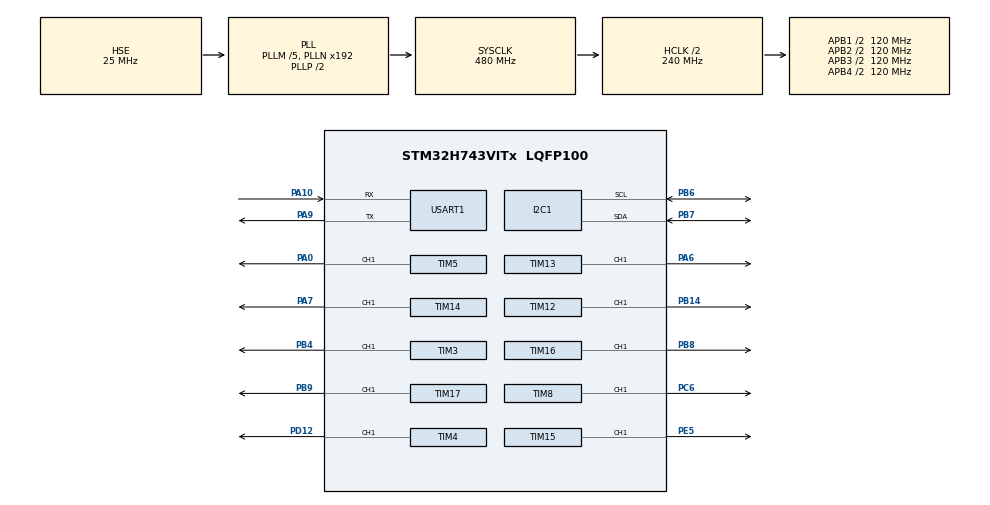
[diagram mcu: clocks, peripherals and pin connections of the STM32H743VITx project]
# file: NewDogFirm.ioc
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CORTEX_M7.Enable_S-Cortex_Memory_Protection_Unit_Region2_Settings_S=__NULL
CORTEX_M7.default_mode_Activation=1
Dma.Request0=USART1_RX
Dma.Request1=USART1_TX
Dma.USART1_RX.0.Direction=DMA_PERIPH_TO_MEMORY
Dma.USART1_RX.0.EventEnable=DISABLE
Dma.USART1_RX.0.FIFOMode=DMA_FIFOMODE_DISABLE
Dma.USART1_RX.0.Instance=DMA1_Stream0
Dma.USART1_RX.0.MemDataAlignment=DMA_MDATAALIGN_BYTE
Dma.USART1_RX.0.MemInc=DMA_MINC_ENABLE
Dma.USART1_RX.0.Mode=DMA_NORMAL
Dma.USART1_RX.0.PeriphDataAlignment=DMA_PDATAALIGN_BYTE
Dma.USART1_RX.0.PeriphInc=DMA_PINC_DISABLE
Dma.USART1_RX.0.Polarity=HAL_DMAMUX_REQ_GEN_RISING
Dma.USART1_RX.0.Priority=DMA_PRIORITY_MEDIUM
Dma.USART1_RX.0.RequestNumber=1
Dma.USART1_RX.0.SignalID=NONE
Dma.USART1_RX.0.SyncEnable=DISABLE
Dma.USART1_RX.0.SyncPolarity=HAL_DMAMUX_SYNC_NO_EVENT
Dma.USART1_RX.0.SyncRequestNumber=1
Dma.USART1_RX.0.SyncSignalID=NONE
Dma.USART1_TX.1.Direction=DMA_MEMORY_TO_PERIPH
Dma.USART1_TX.1.EventEnable=DISABLE
Dma.USART1_TX.1.FIFOMode=DMA_FIFOMODE_DISABLE
Dma.USART1_TX.1.Instance=DMA1_Stream1
Dma.USART1_TX.1.MemDataAlignment=DMA_MDATAALIGN_BYTE
Dma.USART1_TX.1.MemInc=DMA_MINC_ENABLE
Dma.USART1_TX.1.Mode=DMA_NORMAL
Dma.USART1_TX.1.PeriphDataAlignment=DMA_PDATAALIGN_BYTE
Dma.USART1_TX.1.PeriphInc=DMA_PINC_DISABLE
Dma.USART1_TX.1.Polarity=HAL_DMAMUX_REQ_GEN_RISING
Dma.USART1_TX.1.Priority=DMA_PRIORITY_MEDIUM
Dma.USART1_TX.1.RequestNumber=1
Dma.USART1_TX.1.SignalID=NONE
Dma.USART1_TX.1.SyncEnable=DISABLE
Dma.USART1_TX.1.SyncPolarity=HAL_DMAMUX_SYNC_NO_EVENT
Dma.USART1_TX.1.SyncRequestNumber=1
Dma.USART1_TX.1.SyncSignalID=NONE
FREERTOS.Tasks01=defaultTask,24,128,StartDefaultTask,Default,NULL,Dynamic,NULL,NULL;AttitudeTask,48,1024,StartAttitudeTask,Default,NULL,Dynamic,NULL,NULL;ServoControlTas,49,512,StartServoControlTask,Default,NULL,Dynamic,NULL,NULL;GaitControlTask,49,512,StartGaitControlTask,Default,NULL,Dynamic,NULL,NULL;SerialCommTask,49,1024,StartSerialCommTask,Default,NULL,Dynamic,NULL,NULL
FREERTOS.configUSE_NEWLIB_REENTRANT=1
I2C1.Timing=0x307075B1
Mcu.Family=STM32H7
Mcu.Name=STM32H743VITx
Mcu.Package=LQFP100
NVIC.DMA1_Stream0_IRQn=true\:5\:0\:false\:false\:true\:true\:false\:true\:true
NVIC.DMA1_Stream1_IRQn=true\:5\:0\:false\:false\:true\:true\:false\:true\:true
NVIC.PriorityGroup=NVIC_PRIORITYGROUP_4
NVIC.TIM1_UP_IRQn=true\:15\:0\:false\:false\:true\:false\:false\:true\:true
NVIC.TimeBase=TIM1_UP_IRQn
NVIC.TimeBaseIP=TIM1
NVIC.USART1_IRQn=true\:5\:0\:false\:false\:true\:true\:true\:true\:true
PA0.Signal=S_TIM5_CH1
PA10.Mode=Asynchronous
PA10.Signal=USART1_RX
PA6.Signal=S_TIM13_CH1
PA7.Signal=S_TIM14_CH1
PA9.Mode=Asynchronous
PA9.Signal=USART1_TX
PB14.Signal=S_TIM12_CH1
PB4\ (NJTRST).Signal=S_TIM3_CH1
PB6.Mode=I2C
PB6.Signal=I2C1_SCL
PB7.Mode=I2C
PB7.Signal=I2C1_SDA
PB8.Signal=S_TIM16_CH1
PB9.Signal=S_TIM17_CH1
PC14-OSC32_IN\ (OSC32_IN).Mode=LSE-External-Oscillator
PC14-OSC32_IN\ (OSC32_IN).Signal=RCC_OSC32_IN
PC15-OSC32_OUT\ (OSC32_OUT).Mode=LSE-External-Oscillator
PC15-OSC32_OUT\ (OSC32_OUT).Signal=RCC_OSC32_OUT
PC6.Signal=S_TIM8_CH1
PD12.Signal=S_TIM4_CH1
PE5.Signal=S_TIM15_CH1
PH0-OSC_IN\ (PH0).Mode=HSE-External-Oscillator
PH0-OSC_IN\ (PH0).Signal=RCC_OSC_IN
PH1-OSC_OUT\ (PH1).Mode=HSE-External-Oscillator
PH1-OSC_OUT\ (PH1).Signal=RCC_OSC_OUT
ProjectManager.HeapSize=0x200
ProjectManager.StackSize=0x400
ProjectManager.TargetToolchain=STM32CubeIDE
RCC.ADCFreq_Value=50390625
RCC.APB1Freq_Value=120000000
RCC.APB2Freq_Value=120000000
RCC.APB3Freq_Value=120000000
RCC.APB4Freq_Value=120000000
RCC.CortexFreq_Value=480000000
RCC.D1PPRE=RCC_APB3_DIV2
RCC.D2PPRE1=RCC_APB1_DIV2
RCC.D2PPRE2=RCC_APB2_DIV2
RCC.D3PPRE=RCC_APB4_DIV2
RCC.DIVM1=5
RCC.DIVN1=192
RCC.HCLKFreq_Value=240000000
RCC.HPRE=RCC_HCLK_DIV2
RCC.PLLFRACN=0
RCC.PLLSourceVirtual=RCC_PLLSOURCE_HSE
RCC.SYSCLKFreq_VALUE=480000000
RCC.SYSCLKSource=RCC_SYSCLKSOURCE_PLLCLK
RCC.USBFreq_Value=480000000
SH.S_TIM12_CH1.0=TIM12_CH1,PWM Generation1 CH1
SH.S_TIM13_CH1.0=TIM13_CH1,PWM Generation1 CH1
SH.S_TIM14_CH1.0=TIM14_CH1,PWM Generation1 CH1
SH.S_TIM15_CH1.0=TIM15_CH1,PWM Generation1 CH1
SH.S_TIM16_CH1.0=TIM16_CH1,PWM Generation1 CH1
SH.S_TIM17_CH1.0=TIM17_CH1,PWM Generation1 CH1
SH.S_TIM3_CH1.0=TIM3_CH1,PWM Generation1 CH1
SH.S_TIM4_CH1.0=TIM4_CH1,PWM Generation1 CH1
SH.S_TIM5_CH1.0=TIM5_CH1,PWM Generation1 CH1
SH.S_TIM8_CH1.0=TIM8_CH1,PWM Generation1 CH1
TIM12.Channel-PWM\ Generation1\ CH1=TIM_CHANNEL_1
TIM12.Period=20000-1
TIM12.Prescaler=240-1
TIM12.Pulse-PWM\ Generation1\ CH1=10000-1
TIM13.Channel=TIM_CHANNEL_1
TIM13.Period=20000-1
TIM13.Prescaler=240-1
TIM13.Pulse=10000-1
TIM14.Channel=TIM_CHANNEL_1
TIM14.Period=20000-1
TIM14.Prescaler=240-1
TIM14.Pulse=10000-1
TIM15.Channel-PWM\ Generation1\ CH1=TIM_CHANNEL_1
TIM15.Period=20000-1
TIM15.Prescaler=240-1
TIM15.Pulse-PWM\ Generation1\ CH1=10000-1
TIM16.Channel=TIM_CHANNEL_1
TIM16.Period=20000-1
TIM16.Prescaler=240-1
TIM16.Pulse=10000-1
TIM17.Channel=TIM_CHANNEL_1
TIM17.Period=20000-1
TIM17.Prescaler=240-1
TIM17.Pulse=10000-1
TIM3.Channel-PWM\ Generation1\ CH1=TIM_CHANNEL_1
TIM3.Period=20000-1
TIM3.Prescaler=240-1
TIM3.Pulse-PWM\ Generation1\ CH1=10000-1
TIM4.Channel-PWM\ Generation1\ CH1=TIM_CHANNEL_1
TIM4.Period=20000-1
TIM4.Prescaler=240-1
TIM5.Channel-PWM\ Generation1\ CH1=TIM_CHANNEL_1
TIM5.Period=20000-1
TIM5.Prescaler=240-1
TIM5.Pulse-PWM\ Generation1\ CH1=10000-1
TIM8.Channel-PWM\ Generation1\ CH1=TIM_CHANNEL_1
TIM8.Period=20000-1
TIM8.Prescaler=240-1
TIM8.Pulse-PWM\ Generation1\ CH1=10000-1
USART1.VirtualMode-Asynchronous=VM_ASYNC
VP_FREERTOS_VS_CMSIS_V2.Mode=CMSIS_V2
VP_MEMORYMAP_VS_MEMORYMAP.Mode=CurAppReg
VP_SYS_VS_tim1.Mode=TIM1
VP_TIM12_VS_ClockSourceINT.Mode=Internal
VP_TIM13_VS_ClockSourceINT.Mode=Enable_Timer
VP_TIM14_VS_ClockSourceINT.Mode=Enable_Timer
VP_TIM15_VS_ClockSourceINT.Mode=Internal
VP_TIM16_VS_ClockSourceINT.Mode=Enable_Timer
VP_TIM17_VS_ClockSourceINT.Mode=Enable_Timer
VP_TIM3_VS_ClockSourceINT.Mode=Internal
VP_TIM4_VS_ClockSourceINT.Mode=Internal
VP_TIM5_VS_ClockSourceINT.Mode=Internal
VP_TIM8_VS_ClockSourceINT.Mode=Internal
board=custom

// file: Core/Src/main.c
/* USER CODE BEGIN Header */
/**
  ******************************************************************************
  * @file           : main.c
  * @brief          : Main program body
  ******************************************************************************
  * @attention
  *
  * Copyright (c) 2024 STMicroelectronics.
  * All rights reserved.
  *
  * This software is licensed under terms that can be found in the LICENSE file
  * in the root directory of this software component.
  * If no LICENSE file comes with this software, it is provided AS-IS.
  *
  ******************************************************************************
  */
/* USER CODE END Header */
#include "main.h"
#include "cmsis_os.h"
#include "dma.h"
#include "i2c.h"
#include "memorymap.h"
#include "tim.h"
#include "usart.h"
#include "gpio.h"

/* USER CODE BEGIN Includes */
#include "MPU9250.h"
#include "servo_control.h"
#include "string.h"
#include "stdio.h"
#include <stdint.h>
#include <math.h>
#include <stdbool.h>
/* USER CODE END Includes */

/* USER CODE BEGIN PV */

  //char buffer[128];

/* USER CODE END PV */

void SystemClock_Config(void);
static void MPU_Config(void);
void MX_FREERTOS_Init(void);

/* USER CODE BEGIN 0 */

void scan_I2C_bus(void) {
    HAL_UART_Transmit(&huart1, (uint8_t*)"Scanning I2C bus...\r\n", 22, 1000);
    for (uint8_t address = 0x03; address < 0xD0; address++) {
        // 发�?�一个空数据包，来探测该地址是否有设备响�????????
        if (HAL_I2C_IsDeviceReady(&hi2c1, address << 1, 1, 10) == HAL_OK) {
            char tbuffer[256];  // 临时缓冲�????????
            int len = snprintf(tbuffer, sizeof(tbuffer), "Device found at address 0x%02X\r\n", address);
            HAL_UART_Transmit(&huart1, (uint8_t*)tbuffer, len, 1500);
            //HAL_Delay(100);
        }
    }

    HAL_UART_Transmit(&huart1, (uint8_t*)"Scan complete.\r\n", 16, 1000);
}

/* USER CODE END 0 */

int main(void)
{

  /* MPU Configuration--------------------------------------------------------*/
  MPU_Config();

  /* MCU Configuration--------------------------------------------------------*/

  /* Reset of all peripherals, Initializes the Flash interface and the Systick. */
  HAL_Init();

  /* Configure the system clock */
  SystemClock_Config();

  /* Initialize all configured peripherals */
  MX_GPIO_Init();
  MX_DMA_Init();
  MX_TIM5_Init();
  MX_TIM8_Init();
  MX_TIM12_Init();
  MX_TIM13_Init();
  MX_TIM14_Init();
  MX_TIM15_Init();
  MX_TIM16_Init();
  MX_TIM17_Init();
  MX_I2C1_Init();
  MX_TIM4_Init();
  MX_TIM3_Init();
  MX_USART1_UART_Init();

  /* Init scheduler */
  osKernelInitialize();

  /* Call init function for freertos objects (in cmsis_os2.c) */
  MX_FREERTOS_Init();

  /* Start scheduler */
  osKernelStart();

  /* We should never get here as control is now taken by the scheduler */

  /* Infinite loop */
  while (1)
  {

  }
}

void SystemClock_Config(void)
{
  RCC_OscInitTypeDef RCC_OscInitStruct = {0};
  RCC_ClkInitTypeDef RCC_ClkInitStruct = {0};

  /** Supply configuration update enable
  */
  HAL_PWREx_ConfigSupply(PWR_LDO_SUPPLY);

  /** Configure the main internal regulator output voltage
  */
  __HAL_PWR_VOLTAGESCALING_CONFIG(PWR_REGULATOR_VOLTAGE_SCALE1);

  while(!__HAL_PWR_GET_FLAG(PWR_FLAG_VOSRDY)) {}

  __HAL_RCC_SYSCFG_CLK_ENABLE();
  __HAL_PWR_VOLTAGESCALING_CONFIG(PWR_REGULATOR_VOLTAGE_SCALE0);

  while(!__HAL_PWR_GET_FLAG(PWR_FLAG_VOSRDY)) {}

  /** Initializes the RCC Oscillators according to the specified parameters
  * in the RCC_OscInitTypeDef structure.
  */
  RCC_OscInitStruct.OscillatorType = RCC_OSCILLATORTYPE_HSE;
  RCC_OscInitStruct.HSEState = RCC_HSE_ON;
  RCC_OscInitStruct.PLL.PLLState = RCC_PLL_ON;
  RCC_OscInitStruct.PLL.PLLSource = RCC_PLLSOURCE_HSE;
  RCC_OscInitStruct.PLL.PLLM = 5;
  RCC_OscInitStruct.PLL.PLLN = 192;
  RCC_OscInitStruct.PLL.PLLP = 2;
  RCC_OscInitStruct.PLL.PLLQ = 2;
  RCC_OscInitStruct.PLL.PLLR = 2;
  RCC_OscInitStruct.PLL.PLLRGE = RCC_PLL1VCIRANGE_2;
  RCC_OscInitStruct.PLL.PLLVCOSEL = RCC_PLL1VCOWIDE;
  RCC_OscInitStruct.PLL.PLLFRACN = 0;
  if (HAL_RCC_OscConfig(&RCC_OscInitStruct) != HAL_OK)
  {
    Error_Handler();
  }

  /** Initializes the CPU, AHB and APB buses clocks
  */
  RCC_ClkInitStruct.ClockType = RCC_CLOCKTYPE_HCLK|RCC_CLOCKTYPE_SYSCLK
                              |RCC_CLOCKTYPE_PCLK1|RCC_CLOCKTYPE_PCLK2
                              |RCC_CLOCKTYPE_D3PCLK1|RCC_CLOCKTYPE_D1PCLK1;
  RCC_ClkInitStruct.SYSCLKSource = RCC_SYSCLKSOURCE_PLLCLK;
  RCC_ClkInitStruct.SYSCLKDivider = RCC_SYSCLK_DIV1;
  RCC_ClkInitStruct.AHBCLKDivider = RCC_HCLK_DIV2;
  RCC_ClkInitStruct.APB3CLKDivider = RCC_APB3_DIV2;
  RCC_ClkInitStruct.APB1CLKDivider = RCC_APB1_DIV2;
  RCC_ClkInitStruct.APB2CLKDivider = RCC_APB2_DIV2;
  RCC_ClkInitStruct.APB4CLKDivider = RCC_APB4_DIV2;

  if (HAL_RCC_ClockConfig(&RCC_ClkInitStruct, FLASH_LATENCY_4) != HAL_OK)
  {
    Error_Handler();
  }
}

 /* MPU Configuration */

void MPU_Config(void)
{
  MPU_Region_InitTypeDef MPU_InitStruct = {0};

  /* Disables the MPU */
  HAL_MPU_Disable();

  /** Initializes and configures the Region and the memory to be protected
  */
  MPU_InitStruct.Enable = MPU_REGION_ENABLE;
  MPU_InitStruct.Number = MPU_REGION_NUMBER0;
  MPU_InitStruct.BaseAddress = 0x0;
  MPU_InitStruct.Size = MPU_REGION_SIZE_4GB;
  MPU_InitStruct.SubRegionDisable = 0x87;
  MPU_InitStruct.TypeExtField = MPU_TEX_LEVEL0;
  MPU_InitStruct.AccessPermission = MPU_REGION_NO_ACCESS;
  MPU_InitStruct.DisableExec = MPU_INSTRUCTION_ACCESS_DISABLE;
  MPU_InitStruct.IsShareable = MPU_ACCESS_SHAREABLE;
  MPU_InitStruct.IsCacheable = MPU_ACCESS_NOT_CACHEABLE;
  MPU_InitStruct.IsBufferable = MPU_ACCESS_NOT_BUFFERABLE;

  HAL_MPU_ConfigRegion(&MPU_InitStruct);
  /* Enables the MPU */
  HAL_MPU_Enable(MPU_PRIVILEGED_DEFAULT);

}

void HAL_TIM_PeriodElapsedCallback(TIM_HandleTypeDef *htim)
{
  if (htim->Instance == TIM1) {
    HAL_IncTick();
  }
}

void Error_Handler(void)
{
  __disable_irq();
  while (1)
  {
  }
}

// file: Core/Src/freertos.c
/* USER CODE BEGIN Header */
/**
  ******************************************************************************
  * File Name          : freertos.c
  * Description        : Code for freertos applications
  ******************************************************************************
  * @attention
  *
  * Copyright (c) 2024 STMicroelectronics.
  * All rights reserved.
  *
  * This software is licensed under terms that can be found in the LICENSE file
  * in the root directory of this software component.
  * If no LICENSE file comes with this software, it is provided AS-IS.
  *
  ******************************************************************************
  */
/* USER CODE END Header */

#include "FreeRTOS.h"
#include "task.h"
#include "main.h"
#include "cmsis_os.h"

/* USER CODE BEGIN Includes */
#include "queue.h"
#include "semphr.h"
#include "event_groups.h"
#include "servo_control.h"
#include "MPU9250.h"
#include "robocontrol.h"
#include <stdio.h>
#include <string.h>
#include "AHRS.h"

/* USER CODE END Includes */

/* USER CODE BEGIN PTD */
extern UART_HandleTypeDef huart1;
IMUData imuData;

typedef enum {
    STATE_WAIT_HEADER,    // 等待帧头0xAA
    STATE_WAIT_COMMAND,   // 等待命令字节
    STATE_WAIT_FOOTER     // 等待帧尾0x55
} UART_ParseState;

/* USER CODE END PTD */

/* USER CODE BEGIN PD */
#define RX_Queue_SIZE 64     // UART接收队列大小
#define RX_BUFFER_SIZE 3     // UART接收数据大小
#define RING_BUFFER_SIZE 128 // 环形缓冲区大小

// 定义事件位
#define EVENT_QUAT_STATUS_ON  (1 << 0)   // 事件位0表示 QuatTestStatus = 1
#define EVENT_QUAT_STATUS_OFF (1 << 1)   // 事件位1表示 QuatTestStatus = 0

//#define UART_DMA_IDLE

/* USER CODE END PD */

/* USER CODE BEGIN PM */

EventGroupHandle_t xEventGroup;            // 事件组句柄
QueueHandle_t rxQueue;                     // 串口接收队列
QueueHandle_t quatQueue;                   // 四元数队列
SemaphoreHandle_t uartMutex;               // 串口互斥信号
SemaphoreHandle_t uartTxCompleteSemaphore; // 串口发送完成信号量
SemaphoreHandle_t uartRxCompleteSemaphore; // 串口接收完成信号量

/* USER CODE END PM */

/* USER CODE BEGIN Variables */

char printBuffer[100];
uint8_t rxBuffer[RX_BUFFER_SIZE];
uint8_t txBuffer[22];
uint8_t data = 0;

uint8_t ringBuffer[RING_BUFFER_SIZE]; // 定义环形缓冲区
volatile uint16_t writeIndex = 0;
volatile uint16_t readIndex = 0;

/* Definitions for GaitControlTask */
osThreadId_t StabTaskHandle;
const osThreadAttr_t StabTask_attributes = {
        .name = "StabTask",
        .stack_size = 512 * 4,
        .priority = (osPriority_t) osPriorityRealtime1,
};

/* USER CODE END Variables */
/* Definitions for defaultTask */
osThreadId_t defaultTaskHandle;
const osThreadAttr_t defaultTask_attributes = {
  .name = "defaultTask",
  .stack_size = 128 * 4,
  .priority = (osPriority_t) osPriorityNormal,
};
/* Definitions for AttitudeTask */
osThreadId_t AttitudeTaskHandle;
const osThreadAttr_t AttitudeTask_attributes = {
  .name = "AttitudeTask",
  .stack_size = 2048 * 4,
  .priority = (osPriority_t) osPriorityRealtime1,
};
/* Definitions for ServoControlTas */
osThreadId_t ServoControlTasHandle;
const osThreadAttr_t ServoControlTas_attributes = {
  .name = "ServoControlTas",
  .stack_size = 512 * 4,
  .priority = (osPriority_t) osPriorityRealtime1,
};
/* Definitions for GaitControlTask */
osThreadId_t GaitControlTaskHandle;
const osThreadAttr_t GaitControlTask_attributes = {
  .name = "GaitControlTask",
  .stack_size = 512 * 4,
  .priority = (osPriority_t) osPriorityRealtime1,
};
/* Definitions for SerialCommTask */
osThreadId_t SerialCommTaskHandle;
const osThreadAttr_t SerialCommTask_attributes = {
  .name = "SerialCommTask",
  .stack_size = 2048 * 4,
  .priority = (osPriority_t) osPriorityRealtime2,
};

/* USER CODE BEGIN FunctionPrototypes */
void SendAttitudeToHost(float q[4]);
void vApplicationIdleHook(void);
void UART_SendData_IT(uint8_t *data, uint16_t size);

void StartStabTask(void *argument);
/* USER CODE END FunctionPrototypes */

void StartDefaultTask(void *argument);
void StartAttitudeTask(void *argument);
void StartServoControlTask(void *argument);
void StartGaitControlTask(void *argument);
void StartSerialCommTask(void *argument);

void MX_FREERTOS_Init(void); /* (MISRA C 2004 rule 8.1) */

void MX_FREERTOS_Init(void) {
  /* USER CODE BEGIN Init */
    Servo_Init();

    xEventGroup = xEventGroupCreate();
    xEventGroupClearBits(xEventGroup, EVENT_QUAT_STATUS_OFF);
    //memset(rxBuffer, 0, sizeof(rxBuffer));
    huart1.gState = HAL_UART_STATE_READY;
    HAL_UART_Receive_IT(&huart1, &data, 1);

#ifdef UART_DMA_IDLE
//    if (huart1.RxState != HAL_UART_STATE_READY) {
//        HAL_UART_DeInit(&huart1);
//        HAL_UART_Init(&huart1);
//    }
//    __HAL_UART_ENABLE_IT(&huart1, UART_IT_IDLE);
//    SCB_CleanInvalidateDCache_by_Addr((uint32_t*)rxBuffer, RX_BUFFER_SIZE);

//    启动 UART DMA 接收，支持 IDLE 中断
//    if (HAL_UARTEx_ReceiveToIdle_DMA(&huart1, rxBuffer, RX_BUFFER_SIZE) != HAL_OK) {
//        //HAL_UART_Transmit_IT(&huart1, (uint8_t*)"DMA Error", strlen("DMA Error"));
//        HAL_Delay(1000);
//    } else {
//        //HAL_UART_Transmit_IT(&huart1, (uint8_t*)"DMA Started", strlen("DMA Started"));
//        HAL_Delay(1000);
//    }
#endif

  /* USER CODE END Init */

  /* USER CODE BEGIN RTOS_MUTEX */
    uartMutex = xSemaphoreCreateMutex();                    // 串口互斥信号量
    /* add mutexes, ... */
  /* USER CODE END RTOS_MUTEX */

  /* USER CODE BEGIN RTOS_SEMAPHORES */
    /* add semaphores, ... */
    uartTxCompleteSemaphore = xSemaphoreCreateBinary();     // 串口发送完成信号量
    uartRxCompleteSemaphore = xSemaphoreCreateBinary();     // 串口接收完成信号量
  /* USER CODE END RTOS_SEMAPHORES */

  /* USER CODE BEGIN RTOS_QUEUES */
    quatQueue = xQueueCreate(20, sizeof(float) * 4);        //四元数数据队列
    rxQueue = xQueueCreate(RX_Queue_SIZE, sizeof(uint8_t)); //串口接收数据队列
    /* add queues, ... */
  /* USER CODE END RTOS_QUEUES */

  /* Create the thread(s) */
  /* creation of defaultTask */
  defaultTaskHandle = osThreadNew(StartDefaultTask, NULL, &defaultTask_attributes);

  /* creation of AttitudeTask */
  AttitudeTaskHandle = osThreadNew(StartAttitudeTask, NULL, &AttitudeTask_attributes);

  /* creation of ServoControlTas */
  ServoControlTasHandle = osThreadNew(StartServoControlTask, NULL, &ServoControlTas_attributes);

  /* creation of GaitControlTask */
  GaitControlTaskHandle = osThreadNew(StartGaitControlTask, NULL, &GaitControlTask_attributes);

  /* creation of SerialCommTask */
  SerialCommTaskHandle = osThreadNew(StartSerialCommTask, NULL, &SerialCommTask_attributes);

  /* USER CODE BEGIN RTOS_THREADS */
  StabTaskHandle = osThreadNew(StartStabTask, NULL, &StabTask_attributes);
  vTaskStartScheduler();  // 确保启动调度
    /* add threads, ... */
  /* USER CODE END RTOS_THREADS */

}

void StartDefaultTask(void *argument)
{
  for(;;)
  {
    osDelay(1);
  }
}

void StartAttitudeTask(void *argument)
{
  /* USER CODE BEGIN StartAttitudeTask */
    AHRS_Init();                    // 初始化姿态解算
    float quat[4] = {0};
    EventBits_t uxBits;             //等待 QuatTestStatus 状态变化
    /* Infinite loop */
    for(;;)
    {
        AHRS_Update();              // 更新四元数
        AHRS_GetQuaternion(quat);   // 获取并处理姿态四元数

        // 等待事件位
        uxBits = xEventGroupWaitBits(
                xEventGroup,                                  // 事件组句柄
                EVENT_QUAT_STATUS_ON,           // 等待的位
                pdFALSE,                           // 读取位后不清除
                pdFALSE,                         // 等待任意位满足
                pdMS_TO_TICKS(10));               // 等待10ms

        if ((uxBits & EVENT_QUAT_STATUS_ON) != 0) {
            int len = snprintf(printBuffer, sizeof(printBuffer),
                               "%.6f,%.6f,%.6f,%.6f\n",
                               quat[0], quat[1], quat[2], quat[3]);
            UART_SendData_IT((uint8_t *) printBuffer, len);
        }

         xQueueSend(quatQueue, &quat, pdMS_TO_TICKS(100));          // 将姿态四元数发送到队列

        vTaskDelay(pdMS_TO_TICKS(10));
    }
  /* USER CODE END StartAttitudeTask */
}

void StartServoControlTask(void *argument)
{
  /* USER CODE BEGIN StartServoControlTask */

    //Gait_Forward();

    /* Infinite loop */
    for(;;)
    {
        //判断并更新舵机状态
        for(uint8_t i=0; i<8; i++){
            if(servos[i].current_angle != servos[i].target_angle){
               Set_Servo_Angle(i, servos[i].target_angle);
               servos[i].current_angle = servos[i].target_angle;
            }
            vTaskDelay(pdMS_TO_TICKS(10));
        }
        vTaskDelay(pdMS_TO_TICKS(10));
    }
  /* USER CODE END StartServoControlTask */
}

void StartGaitControlTask(void *argument)
{
  /* USER CODE BEGIN StartGaitControlTask */
    current_action = ACTION_FORWARD;
    //current_action = ACTION_MARCH_IN_PLACE;
    //current_action = ACTION_STOP;

    Init_Servos();
    SetInitServosPosition();          // 舵机初始位置
    vTaskDelay(pdMS_TO_TICKS(1000)); // 延迟1ms
    SetStandbyPosition();            // 标准站立姿态
    vTaskDelay(pdMS_TO_TICKS(1000)); // 延迟1s

    /* Infinite loop */
    for(;;)
    {
        GaitControl();

        vTaskDelay(pdMS_TO_TICKS(50));
    }
  /* USER CODE END StartGaitControlTask */
}

void StartSerialCommTask(void *argument)
{
  /* USER CODE BEGIN StartSerialCommTask */
    uint8_t receivedByte;
    UART_ParseState state = STATE_WAIT_HEADER;
    uint8_t command = 0;

    /* Infinite loop */
    for(;;)
    {

        // 从队列读取数据
        if (xQueueReceive(rxQueue, &receivedByte, portMAX_DELAY) == pdTRUE) {
            switch (state) {
                case STATE_WAIT_HEADER:
                    if (receivedByte == 0xAA) {
                        state = STATE_WAIT_COMMAND;     // 检测到帧头，进入命令解析状态
                    }
                    break;

                case STATE_WAIT_COMMAND:
                    command = receivedByte;             // 记录命令字节
                    state = STATE_WAIT_FOOTER;
                    break;

                case STATE_WAIT_FOOTER:
                    if (receivedByte == 0x55) {          // 检测到帧尾，解析完整命令
                        switch (command) {
                            case 0x01:
                                Move_Forward();
                                UART_SendData_IT((uint8_t *) "Forward\n", 8);
                                break;
                            case 0x02:
                                Move_Backward();
                                UART_SendData_IT((uint8_t *) "Backward\n", 9);
                                break;
                            case 0x03:
                                Turn_Left();
                                UART_SendData_IT((uint8_t *) "Left\n", 5);
                                break;
                            case 0x04:
                                Turn_Right();
                                UART_SendData_IT((uint8_t *) "Right\n", 6);
                                break;
                            case 0x05:
                                Stop();
                                UART_SendData_IT((uint8_t *) "Stop\n", 5);
                                break;
                            case 0x06: {
                                float quat[4];
                                if (xQueueReceive(quatQueue, &quat, pdMS_TO_TICKS(10)) == pdTRUE) {
                                    SendAttitudeToHost(quat);  // 发送姿态数据
                                } else {
                                    UART_SendData_IT((uint8_t *) "No Data\n", 8);
                                }
                                break;
                            }
                            case 0x07:{
                                xEventGroupSetBits(xEventGroup, EVENT_QUAT_STATUS_ON);     // 切换四元数串口测试状态
                                UART_SendData_IT((uint8_t *) "Quat Test On\n", 13);
                                break;
                            }
                            case 0x08:{
                                xEventGroupClearBits(xEventGroup, EVENT_QUAT_STATUS_ON); // 切换四元数串口测试状态
                                UART_SendData_IT((uint8_t *) "Quat Test Off\n", 13);
                                break;
                            }
                            default:
                                HAL_UART_Transmit(&huart1, (uint8_t *) "Unknown Command\n", 16, HAL_MAX_DELAY);
                                break;
                        }
                    }
                    // 重置状态以准备接收下一帧
                    state = STATE_WAIT_HEADER;
                    break;
            }

        }

        //vTaskDelay(pdMS_TO_TICKS(1));  // 延时 1 毫秒
    }
  /* USER CODE END StartSerialCommTask */
}

/* USER CODE BEGIN Application */
void StartStabTask(void *argument){
    for(;;) {

        DynamicStabilizationAdjustment();
        vTaskDelay(pdMS_TO_TICKS(5));
    }
}

void SendAttitudeToHost(float q[4]) {

    memset(txBuffer, 0, sizeof(txBuffer));          // 清除发送缓冲区
    txBuffer[0] = 0xAA;                             // 帧头
    txBuffer[1] = 0x06;                             // 数据类型
    memcpy(&txBuffer[2], &q[0], sizeof(float));     // 复制四元数
    memcpy(&txBuffer[6], &q[1], sizeof(float));
    memcpy(&txBuffer[10], &q[2], sizeof(float));
    memcpy(&txBuffer[14], &q[3], sizeof(float));
    txBuffer[18] = 0x55;  // 帧尾

    UART_SendData_IT(txBuffer, sizeof(txBuffer));

}

// 线程安全的串口发送函数
void UART_SendData_IT(uint8_t *data, uint16_t size) {
    // 获取互斥量
    if (xSemaphoreTake(uartMutex, portMAX_DELAY) == pdTRUE) {
            huart1.gState = HAL_UART_STATE_READY;
            HAL_UART_Transmit_IT(&huart1, data, size);  // 使用中断发送数据
            if (xSemaphoreTake(uartTxCompleteSemaphore, pdMS_TO_TICKS(500)) != pdTRUE) {
                xSemaphoreGive(uartMutex);                          // 超时释放互斥量
            }
        xSemaphoreGive(uartMutex);                                  // 释放互斥量
    }
}

void HAL_UART_TxCpltCallback(UART_HandleTypeDef *huart) {
    if (huart->Instance == USART1) {
        //串口变为就绪态
        huart1.gState = HAL_UART_STATE_READY;
        BaseType_t xHigherPriorityTaskWoken = pdFALSE;
        // 发送完成信号量
        xSemaphoreGiveFromISR(uartTxCompleteSemaphore, &xHigherPriorityTaskWoken);
        portYIELD_FROM_ISR(xHigherPriorityTaskWoken);
    }
}

#ifndef UART_DMA_IDLE
//UART接收完成回调
void HAL_UART_RxCpltCallback(UART_HandleTypeDef *huart) {
    if (huart->Instance == USART1) {
//        ringBuffer[writeIndex] = data;  // 存入环形缓冲区
//        writeIndex = (writeIndex + 1) % RING_BUFFER_SIZE;
        HAL_UART_Receive_IT(&huart1, &data, 1);
        BaseType_t xHigherPriorityTaskWoken = pdFALSE;
        // 如果队列满，将旧数据丢弃
//        if (uxQueueSpacesAvailable(rxQueue) == 0) {
//            xQueueReceive(rxQueue, NULL, 0);  // 丢弃旧数据
//        }
        xQueueSendFromISR(rxQueue, &data, &xHigherPriorityTaskWoken);  // 将接收数据放入队列
        //xSemaphoreGiveFromISR(uartRxCompleteSemaphore, &xHigherPriorityTaskWoken);
        huart1.gState = HAL_UART_STATE_READY;
        portYIELD_FROM_ISR(xHigherPriorityTaskWoken);                   // 若有高优先级任务则切换
    }
}
#elif defined UART_DMA_IDLE
void HAL_UARTEx_RxEventCallback(UART_HandleTypeDef *huart, uint16_t Size){
    if(huart->Instance == USART1){
       // HAL_UART_Transmit_IT(&huart1, (uint8_t*)"StartDMARX", 100);
        HAL_UARTEx_ReceiveToIdle_DMA(&huart1, rxBuffer, RX_BUFFER_SIZE);

    }
}
#endif

//自定义空闲任务钩子函数
void vApplicationIdleHook(void) {
    vTaskDelay(1);
}

/* USER CODE END Application */
